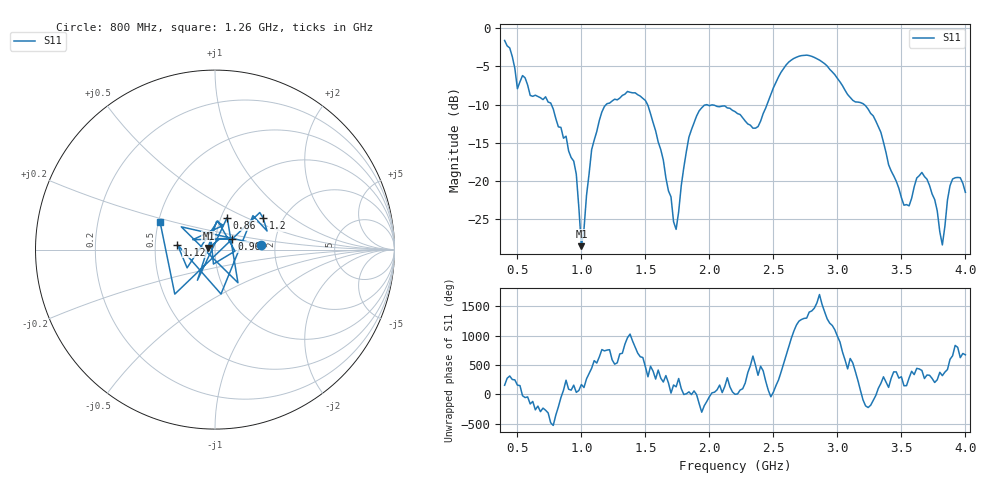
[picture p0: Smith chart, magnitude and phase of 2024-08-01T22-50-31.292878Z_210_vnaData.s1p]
!Created with skrf (http://scikit-rf.org).
# Hz S RI R 50.0
!freq ReS11 ImS11
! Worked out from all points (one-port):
!   181 points, 400 MHz to 4 GHz, reference 50 ohm
!   lowest |S11| = -28.5 dB at 1 GHz (marker M1), VSWR 1.08, Z = 46.5 + j0.781 ohm
!   |S11| at or under -10 dB: 1.517 GHz to 1.978 GHz (461.2 MHz wide, 26.4 % of centre); 1.981 GHz to 2.45 GHz (468.9 MHz wide, 21.2 % of centre); 3.21 GHz to end of sweep (the widest 3 of 4)
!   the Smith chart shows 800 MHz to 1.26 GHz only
!   S11 on the Smith chart (normalised r, x): 800 MHz: 1.68, +0.10; 860 MHz: 1.07, +0.40; 960 MHz: 1.20, +0.15; 1.12 GHz: 0.65, +0.04; 1.2 GHz: 1.58, +0.62; 1.26 GHz: 0.51, +0.18
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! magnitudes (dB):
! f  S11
! 400 MHz  -1.6
! 500 MHz  -7.9
! 800 MHz  -11.8
! 860 MHz  -14.4
! 960 MHz  -19.1
! 1 GHz  -28.5
! 1.08 GHz  -15.9
! 1.12 GHz  -13.5
! 1.2 GHz  -9.9
! 1.26 GHz  -9.3
! 1.3 GHz  -9.1
! 1.5 GHz  -9.4
! 1.64 GHz  -17.2
! 1.72 GHz  -25.3
! 1.76 GHz  -24.0
! 1.84 GHz  -14.2
! 1.92 GHz  -10.8
! 2.2 GHz  -10.9
! 2.38 GHz  -12.9
! 2.66 GHz  -4.0
! 3.1 GHz  -9.0
! 3.28 GHz  -11.5
! 3.56 GHz  -23.2
! 3.66 GHz  -18.9
! 3.76 GHz  -22.4
! 3.82 GHz  -28.3
! 3.9 GHz  -19.7
! 4 GHz  -21.5
